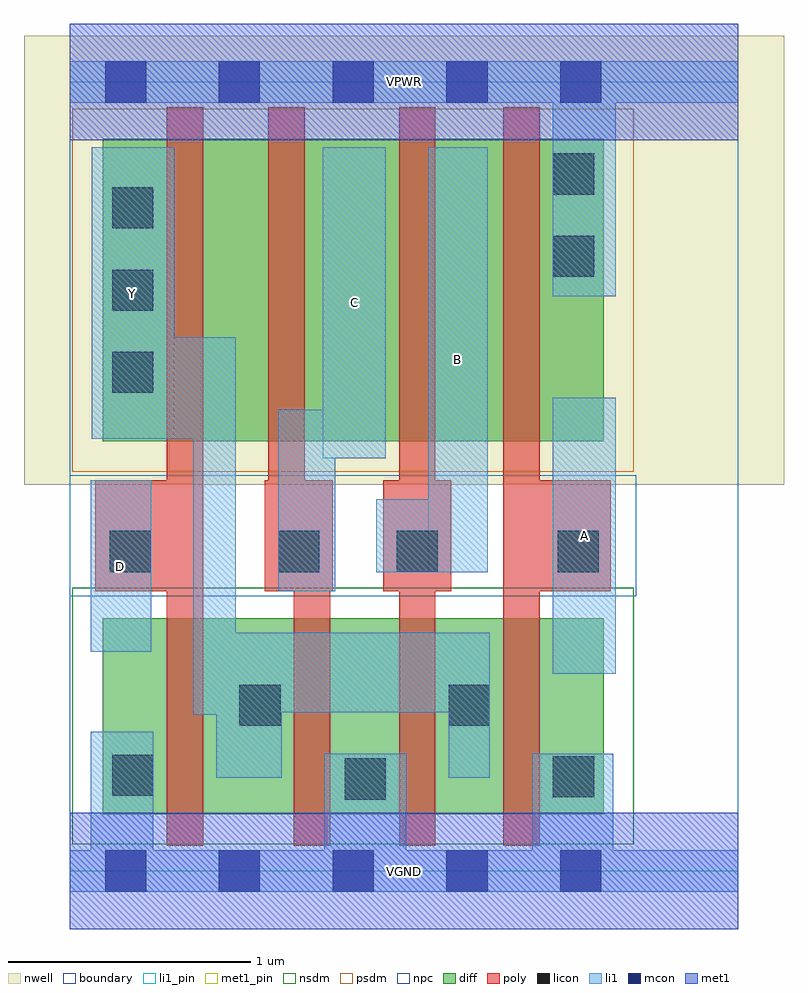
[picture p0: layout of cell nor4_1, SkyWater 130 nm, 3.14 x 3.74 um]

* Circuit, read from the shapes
.subckt nor4_1 A B C D VGND VPWR Y
XM1 Y D VGND VSUBS sky130_fd_pr__nfet_01v8 w=0.81 l=0.15
XM2 VGND C Y VSUBS sky130_fd_pr__nfet_01v8 w=0.81 l=0.15
XM3 Y B VGND VSUBS sky130_fd_pr__nfet_01v8 w=0.81 l=0.15
XM4 VGND A Y VSUBS sky130_fd_pr__nfet_01v8 w=0.81 l=0.15
XM5 n1 D Y n2 sky130_fd_pr__pfet_01v8 w=1.25 l=0.15
XM6 n3 C n1 n2 sky130_fd_pr__pfet_01v8 w=1.25 l=0.15
XM7 n4 B n3 n2 sky130_fd_pr__pfet_01v8 w=1.25 l=0.15
XM8 VPWR A n4 n2 sky130_fd_pr__pfet_01v8 w=1.25 l=0.15
.ends

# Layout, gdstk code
import gdstk
lib = gdstk.Library(unit=1e-6, precision=1e-09)
def R(c, l, rs):  # rectangles x0, y0, x1, y1
    for r in rs: c.add(gdstk.rectangle(r[:2], r[2:], *l))
def A(c, l, x, y, w, h, nx, ny, dx, dy):  # array of equal rectangles
    R(c, l, [(x+i*dx, y+j*dy, x+i*dx+w, y+j*dy+h) for i in range(nx) for j in range(ny)])
nwell = (64, 20)
diff = (65, 20)
poly = (66, 20)
licon = (66, 44)
li1_pin = (67, 16)
li1 = (67, 20)
mcon = (67, 44)
met1_pin = (68, 16)
met1 = (68, 20)
nsdm = (93, 44)
psdm = (94, 20)
npc = (95, 20)
boundary = (235, 4)

nor4_1 = lib.new_cell('nor4_1')
R(nor4_1, nwell, [(-0.19,1.595,2.95,3.45), (0,1.595,2.76,3.45)])
R(nor4_1, diff, [(0.135,0.235,2.205,1.045), (0.135,1.775,2.205,3.025)])
R(nor4_1, poly, [(0.4,0.105,0.55,3.155), (0.925,0.105,1.075,1.615), (1.36,0.105,1.51,3.155), (1.79,0.105,1.94,3.155), (0.105,1.155,0.55,1.615), (0.805,1.155,1.085,1.615), (0.82,1.155,0.97,3.155), (1.295,1.155,1.575,1.615), (1.79,1.155,2.235,1.615)])
A(nor4_1, licon, 0.175, 1.975, 0.17, 0.17, 1, 3, 0, 0.34)
R(nor4_1, licon, [(1.135,0.295,1.305,0.465), (1.995,0.305,2.165,0.475), (0.175,0.31,0.345,0.48), (0.7,0.6,0.87,0.77), (1.565,0.6,1.735,0.77), (0.165,1.235,0.335,1.405), (0.86,1.235,1.03,1.405), (1.35,1.235,1.52,1.405), (2.015,1.235,2.185,1.405), (1.995,2.455,2.165,2.625), (1.995,2.795,2.165,2.965)])
R(nor4_1, li1_pin, [(1.995,0.815,2.255,1.955), (0.085,0.905,0.335,1.615), (1.48,1.235,1.725,2.99), (1.045,1.705,1.305,2.99), (0.09,1.785,0.43,2.99)])
R(nor4_1, li1, [(0,-0.085,2.76,0.085), (0.085,-0.085,0.345,0.575), (1.05,-0.085,1.39,0.485), (1.91,-0.085,2.245,0.485), (0.605,0.385,0.875,0.985), (1.565,0.385,1.735,0.985), (0.51,0.645,0.685,2.205), (0.51,0.655,1.735,0.985), (1.995,0.815,2.255,1.955), (0.085,0.905,0.335,1.615), (0.86,1.155,1.095,1.905), (1.265,1.235,1.725,1.535), (1.48,1.235,1.725,2.99), (1.045,1.705,1.305,2.99), (0.09,1.785,0.43,2.99), (0.09,1.785,0.685,2.205), (1.995,2.375,2.255,3.345), (0,3.175,2.76,3.345)])
A(nor4_1, mcon, 0.145, -0.085, 0.17, 0.17, 5, 2, 0.47, 3.26)
R(nor4_1, met1_pin, [(0,-0.24,2.76,0.24), (0,3.02,2.76,3.5)])
R(nor4_1, met1, [(0,-0.24,2.76,0.24), (0,3.02,2.76,3.5)])
R(nor4_1, nsdm, [(0.01,0.11,2.33,1.17)])
R(nor4_1, psdm, [(0.01,1.65,2.33,3.15)])
R(nor4_1, npc, [(0,1.135,2.34,1.635)])
R(nor4_1, boundary, [(0,0,2.76,3.26)])
nor4_1.add(gdstk.Label('A', (2.125,1.385), layer=67, texttype=5))
nor4_1.add(gdstk.Label('B', (1.602,2.112), layer=67, texttype=5))
nor4_1.add(gdstk.Label('C', (1.175,2.347), layer=67, texttype=5))
nor4_1.add(gdstk.Label('D', (0.21,1.26), layer=67, texttype=5))
nor4_1.add(gdstk.Label('Y', (0.26,2.387), layer=67, texttype=5))
nor4_1.add(gdstk.Label('VPWR', (1.38,3.26), layer=68, texttype=5))
nor4_1.add(gdstk.Label('VGND', (1.38,0), layer=68, texttype=5))
nor4_1.add(gdstk.Label('A', (2.125,1.385), layer=67, texttype=16))
nor4_1.add(gdstk.Label('B', (1.602,2.112), layer=67, texttype=16))
nor4_1.add(gdstk.Label('C', (1.175,2.347), layer=67, texttype=16))
nor4_1.add(gdstk.Label('D', (0.21,1.26), layer=67, texttype=16))
nor4_1.add(gdstk.Label('Y', (0.26,2.387), layer=67, texttype=16))
nor4_1.add(gdstk.Label('VPWR', (1.38,3.26), layer=68, texttype=16))
nor4_1.add(gdstk.Label('VGND', (1.38,0), layer=68, texttype=16))

lib.write_gds('nor4_1.gds')
